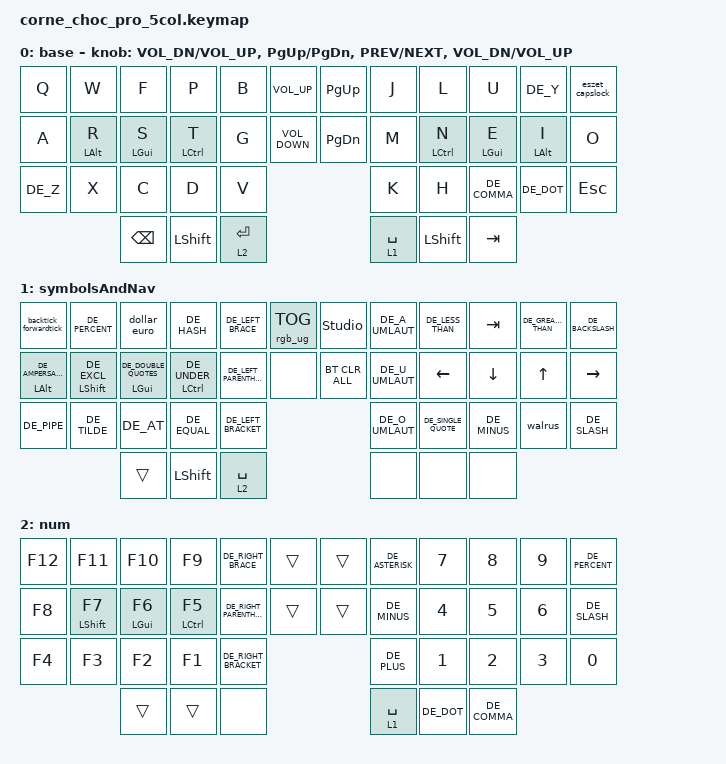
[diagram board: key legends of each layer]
/*
 * Copyright (c) 2020 The ZMK Contributors
 *
 * SPDX-License-Identifier: MIT
 */

#include <behaviors.dtsi>
#include <dt-bindings/zmk/bt.h>
#include <dt-bindings/zmk/keys.h>
#include <dt-bindings/zmk/rgb.h>
#include "keys_de.h"

#define BASE 0
#define NAV 1
#define MEDIA 2
#define NUM 3
#define SYM 4
#define FUN 5
#define ADJUST 6

&mt {
    flavor = "tap-preferred";
    tapping-term-ms = <280>;
    quick-tap-ms = <150>;
    require-prior-idle-ms = <150>;
};

/ {
    chosen { zmk,physical-layout = &five_col_layout; };

    macros {
        walrus: walrus {
            compatible = "zmk,behavior-macro";
            #binding-cells = <0>;
            bindings = <&kp LS(DOT) &kp DE_EQUAL>;
            label = "walrus";
        };

        backtick: forwardtick {
            compatible = "zmk,behavior-macro";
            #binding-cells = <0>;
            bindings = <&kp LS(EQUAL) &kp LS(EQUAL)>;
            label = "FORWARDTICK";
        };

        copy: copy {
            compatible = "zmk,behavior-macro";
            #binding-cells = <0>;
            bindings = <&kp LC(DE_C)>;
            label = "COPY";
        };
    };

    behaviors {
        dollar_euro: dollar_euro {
            compatible = "zmk,behavior-tap-dance";
            label = "DOLLAR_EURO";
            #binding-cells = <0>;
            bindings = <&kp DE_DOLLAR>, <&kp DE_EURO>;

            tapping-term-ms = <170>;
        };

        backtick_forwardtick: backtick_forwardtick {
            compatible = "zmk,behavior-tap-dance";
            label = "BACKTICK_FORWARDTICK";
            #binding-cells = <0>;
            bindings = <&backtick>, <&kp EQUAL>;

            tapping-term-ms = <170>;
        };

        eszet_capslock: eszet_capslock {
            compatible = "zmk,behavior-tap-dance";
            label = "ESZET_CAPSLOCK";
            #binding-cells = <0>;
            tapping-term-ms = <170>;
            bindings = <&kp DE_ESZETT>, <&kp CAPSLOCK>;
        };
    };

    keymap {
        compatible = "zmk,keymap";

        base {
            display-name = "base";

            // --------------------------------------------------------------------------------------
            // |  Q  |  W  |  E  |  R  |  T  | MUTE | PLAY |  Y  |  U  |  I  |  O  |  P  |
            // | GUI/A | ALT/S | CTRL/D | SHIFT/F | G | ALT | ALT | H | SHIFT/J | CTRL/K | ALT/L | GUI/' |
            // |  Z  |  X  |  C  |  V  |  B  |             |  N  |  M  |  ,  |  .  |  /  |
            //              | ESC/MEDIA | SPACE/NAV | TAB/FUN | RET/SYM | BSPC/NUM | DEL/ADJ |

            bindings = <
  &kp Q     &kp W           &kp F           &kp P               &kp B        &kp C_VOLUME_UP    &kp PAGE_UP    &kp J        &kp L               &kp U           &kp DE_Y        &eszet_capslock
  &kp A     &mt LEFT_ALT R  &mt LEFT_GUI S  &mt LEFT_CONTROL T  &kp G        &kp C_VOLUME_DOWN  &kp PAGE_DOWN  &kp M        &mt LEFT_CONTROL N  &mt LEFT_GUI E  &mt LEFT_ALT I  &kp O
  &kp DE_Z  &kp X           &kp C           &kp D               &kp V                                          &kp K        &kp H               &kp DE_COMMA    &kp DE_DOT      &kp ESCAPE
                            &kp BACKSPACE   &kp LEFT_SHIFT      &lt 2 ENTER                                    &lt 1 SPACE  &kp LEFT_SHIFT      &kp TAB
            >;

            sensor-bindings = <&inc_dec_kp C_VOL_DN C_VOL_UP &inc_dec_kp PG_UP PG_DN &inc_dec_kp C_PREV C_NEXT &inc_dec_kp C_VOL_DN C_VOL_UP>;
        };

        symbolsAndNav {
            display-name = "symbolsAndNav";

            // --------------------------------------------------------------------------------
            // |     |     |      |       |     |      |      |      |      |      |      |      |
            // | GUI | ALT | CTRL | SHIFT |     | ALT  | ALT  | CAPS | LEFT | DOWN |  UP  | RIGHT|
            // |     |     |      |       |     |             | INS  | HOME | PGDN | PGUP | END  |
            //                       |     |     |     |             |     |     |     |

            bindings = <
  &backtick_forwardtick      &kp DE_PERCENT          &dollar_euro                   &kp DE_HASH                &kp DE_LEFT_BRACE        &rgb_ug RGB_TOG  &studio_unlock  &kp DE_A_UMLAUT  &kp DE_LESS_THAN     &kp TAB       &kp DE_GREATER_THAN  &kp DE_BACKSLASH
  &mt LEFT_ALT DE_AMPERSAND  &mt LEFT_SHIFT DE_EXCL  &mt LEFT_GUI DE_DOUBLE_QUOTES  &mt LEFT_CONTROL DE_UNDER  &kp DE_LEFT_PARENTHESIS  &none            &bt BT_CLR_ALL  &kp DE_U_UMLAUT  &kp LEFT             &kp DOWN      &kp UP               &kp RIGHT
  &kp DE_PIPE                &kp DE_TILDE            &kp DE_AT                      &kp DE_EQUAL               &kp DE_LEFT_BRACKET                                       &kp DE_O_UMLAUT  &kp DE_SINGLE_QUOTE  &kp DE_MINUS  &walrus              &kp DE_SLASH
                                                     &trans                         &kp LEFT_SHIFT             &lt 2 SPACE                                               &none            &none                &none
            >;
        };

        num {
            display-name = "num";

            // --------------------------------------------------------------------------------------
            // | HUD | HUI | SAD | SAI | EFF | MUTE | PLAY | EFF | SAI | SAD | HUI | HUD |
            // | PREV| VOLD| MUTE| VOLU| NEXT| ALT  | ALT  | PREV| VOLD| MUTE| VOLU| NEXT|
            // | BRI | BRD | TOG |     |     |            |     |     | TOG | BRD | BRI |
            //                       |     |     |     |         |     |     |     |

            bindings = <
  &kp F12  &kp F11            &kp F10          &kp F9               &kp DE_RIGHT_BRACE        &trans  &trans  &kp DE_ASTERISK  &kp NUMBER_7  &kp NUMBER_8  &kp NUMBER_9  &kp DE_PERCENT
  &kp F8   &mt LEFT_SHIFT F7  &mt LEFT_GUI F6  &mt LEFT_CONTROL F5  &kp DE_RIGHT_PARENTHESIS  &trans  &trans  &kp DE_MINUS     &kp NUMBER_4  &kp NUMBER_5  &kp NUMBER_6  &kp DE_SLASH
  &kp F4   &kp F3             &kp F2           &kp F1               &kp DE_RIGHT_BRACKET                      &kp DE_PLUS      &kp NUMBER_1  &kp NUMBER_2  &kp NUMBER_3  &kp N0
                              &trans           &trans               &none                                     &lt 1 SPACE      &kp DE_DOT    &kp DE_COMMA
            >;
        };
    };
};
